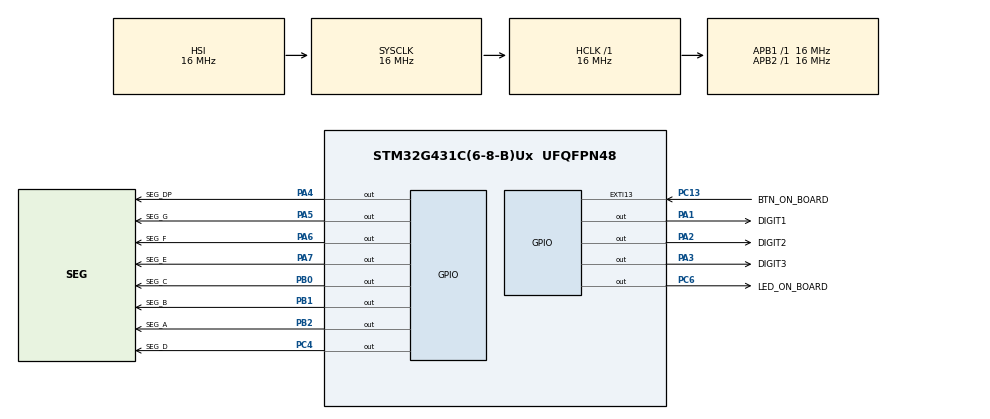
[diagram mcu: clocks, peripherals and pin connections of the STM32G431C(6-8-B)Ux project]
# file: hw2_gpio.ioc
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Mcu.Family=STM32G4
Mcu.Name=STM32G431C(6-8-B)Ux
Mcu.Package=UFQFPN48
NVIC.EXTI15_10_IRQn=true\:8\:0\:true\:false\:true\:true\:true\:true
NVIC.PriorityGroup=NVIC_PRIORITYGROUP_4
PA1.GPIO_Label=DIGIT1
PA1.PinState=GPIO_PIN_RESET
PA1.Signal=GPIO_Output
PA13.Mode=Serial_Wire
PA13.Signal=SYS_JTMS-SWDIO
PA14.Mode=Serial_Wire
PA14.Signal=SYS_JTCK-SWCLK
PA2.GPIO_Label=DIGIT2
PA2.PinState=GPIO_PIN_RESET
PA2.Signal=GPIO_Output
PA3.GPIO_Label=DIGIT3
PA3.PinState=GPIO_PIN_RESET
PA3.Signal=GPIO_Output
PA4.GPIO_Label=SEG_DP
PA4.Signal=GPIO_Output
PA5.GPIO_Label=SEG_G
PA5.PinState=GPIO_PIN_RESET
PA5.Signal=GPIO_Output
PA6.GPIO_Label=SEG_F
PA6.Signal=GPIO_Output
PA7.GPIO_Label=SEG_E
PA7.Signal=GPIO_Output
PB0.GPIO_Label=SEG_C
PB0.Signal=GPIO_Output
PB1.GPIO_Label=SEG_B
PB1.Signal=GPIO_Output
PB2.GPIO_Label=SEG_A
PB2.Signal=GPIO_Output
PC13.GPIO_Label=BTN_ON_BOARD
PC13.GPIO_ModeDefaultEXTI=GPIO_MODE_IT_RISING
PC13.GPIO_PuPd=GPIO_PULLDOWN
PC13.Signal=GPXTI13
PC4.GPIO_Label=SEG_D
PC4.Signal=GPIO_Output
PC6.GPIO_Label=LED_ON_BOARD
PC6.Signal=GPIO_Output
ProjectManager.HeapSize=0x200
ProjectManager.StackSize=0x400
ProjectManager.TargetToolchain=STM32CubeIDE
RCC.AHBFreq_Value=16000000
RCC.APB1Freq_Value=16000000
RCC.APB1TimFreq_Value=16000000
RCC.APB2Freq_Value=16000000
RCC.APB2TimFreq_Value=16000000
RCC.CortexFreq_Value=16000000
RCC.EXTERNAL_CLOCK_VALUE=12288000
RCC.HCLKFreq_Value=16000000
RCC.HSE_VALUE=8000000
RCC.HSI48_VALUE=48000000
RCC.HSI_VALUE=16000000
RCC.LSE_VALUE=32768
RCC.SYSCLKFreq_VALUE=16000000
RCC.USBFreq_Value=64000000
RCC.VCOOutputFreq_Value=128000000
VP_SYS_VS_DBSignals.Mode=DisableDeadBatterySignals
board=custom

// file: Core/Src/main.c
/* USER CODE BEGIN Header */
/**
  ******************************************************************************
  * @file           : main.c
  * @brief          : Main program body
  ******************************************************************************
  * @attention
  *
  * Copyright (c) 2025 STMicroelectronics.
  * All rights reserved.
  *
  * This software is licensed under terms that can be found in the LICENSE file
  * in the root directory of this software component.
  * If no LICENSE file comes with this software, it is provided AS-IS.
  *
  ******************************************************************************
  */
/* USER CODE END Header */
#include "main.h"

/* USER CODE BEGIN Includes */
#include "button.h"
#include "display_7seg.h"
#include "led.h"
/* USER CODE END Includes */

/* USER CODE BEGIN PD */
#define MAX_COUNT_VAL	999
#define UPDATE_PERIOD	5
/* USER CODE END PD */

/* USER CODE BEGIN PV */
extern uint8_t btn_flag;
volatile uint32_t count = 0;
/* USER CODE END PV */

void SystemClock_Config(void);

int main(void)
{

  /* USER CODE BEGIN 1 */
	display_7seg_t display = {
		.digit = {
			{DIGIT1_GPIO_Port, DIGIT1_Pin},
			{DIGIT2_GPIO_Port, DIGIT2_Pin},
			{DIGIT3_GPIO_Port, DIGIT3_Pin}
		},
		.segment = {
			{SEG_A_GPIO_Port, SEG_A_Pin},
			{SEG_B_GPIO_Port, SEG_B_Pin},
			{SEG_C_GPIO_Port, SEG_C_Pin},
			{SEG_D_GPIO_Port, SEG_D_Pin},
			{SEG_E_GPIO_Port, SEG_E_Pin},
			{SEG_F_GPIO_Port, SEG_F_Pin},
			{SEG_G_GPIO_Port, SEG_G_Pin},
			{SEG_DP_GPIO_Port, SEG_DP_Pin}
		}
	};
	uint32_t curr_time = 0;
	uint32_t last_update = 0;
  /* USER CODE END 1 */

  /* MCU Configuration--------------------------------------------------------*/

  /* Reset of all peripherals, Initializes the Flash interface and the Systick. */
  HAL_Init();

  /* Configure the system clock */
  SystemClock_Config();

  /* Initialize all configured peripherals */
  /* USER CODE BEGIN 2 */

	init_led(LED_ON_BOARD_GPIO_Port, LED_ON_BOARD_Pin);
	init_btn(BTN_ON_BOARD_GPIO_Port, BTN_ON_BOARD_Pin);
	display_7seg_init(&display);

  /* USER CODE END 2 */

  /* Infinite loop */
  /* USER CODE BEGIN WHILE */
  while (1)
  {
	curr_time = HAL_GetTick();
	if(curr_time - last_update >= UPDATE_PERIOD)
	{
		last_update = curr_time;
		display_7seg_show(&display);
	}
	if(btn_flag)
	{
		HAL_GPIO_TogglePin(LED_ON_BOARD_GPIO_Port, LED_ON_BOARD_Pin);
		btn_flag = 0;
		if (count < MAX_COUNT_VAL)
			count++;
		else
			count = 0;
		display_7seg_update(&display, count);
	}
    /* USER CODE END WHILE */

  }
}

void SystemClock_Config(void)
{
  RCC_OscInitTypeDef RCC_OscInitStruct = {0};
  RCC_ClkInitTypeDef RCC_ClkInitStruct = {0};

  /** Configure the main internal regulator output voltage
  */
  HAL_PWREx_ControlVoltageScaling(PWR_REGULATOR_VOLTAGE_SCALE1);

  /** Initializes the RCC Oscillators according to the specified parameters
  * in the RCC_OscInitTypeDef structure.
  */
  RCC_OscInitStruct.OscillatorType = RCC_OSCILLATORTYPE_HSI;
  RCC_OscInitStruct.HSIState = RCC_HSI_ON;
  RCC_OscInitStruct.HSICalibrationValue = RCC_HSICALIBRATION_DEFAULT;
  RCC_OscInitStruct.PLL.PLLState = RCC_PLL_NONE;
  if (HAL_RCC_OscConfig(&RCC_OscInitStruct) != HAL_OK)
  {
    Error_Handler();
  }

  /** Initializes the CPU, AHB and APB buses clocks
  */
  RCC_ClkInitStruct.ClockType = RCC_CLOCKTYPE_HCLK|RCC_CLOCKTYPE_SYSCLK
                              |RCC_CLOCKTYPE_PCLK1|RCC_CLOCKTYPE_PCLK2;
  RCC_ClkInitStruct.SYSCLKSource = RCC_SYSCLKSOURCE_HSI;
  RCC_ClkInitStruct.AHBCLKDivider = RCC_SYSCLK_DIV1;
  RCC_ClkInitStruct.APB1CLKDivider = RCC_HCLK_DIV1;
  RCC_ClkInitStruct.APB2CLKDivider = RCC_HCLK_DIV1;

  if (HAL_RCC_ClockConfig(&RCC_ClkInitStruct, FLASH_LATENCY_0) != HAL_OK)
  {
    Error_Handler();
  }
}

void Error_Handler(void)
{
  __disable_irq();
  while (1)
  {
  }
}
